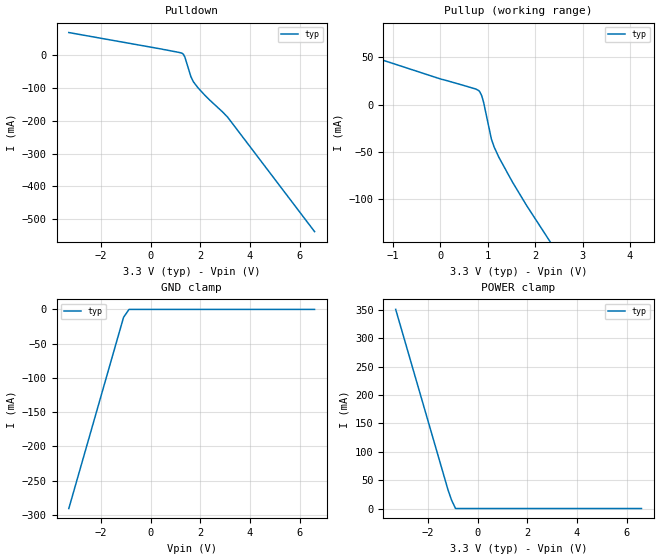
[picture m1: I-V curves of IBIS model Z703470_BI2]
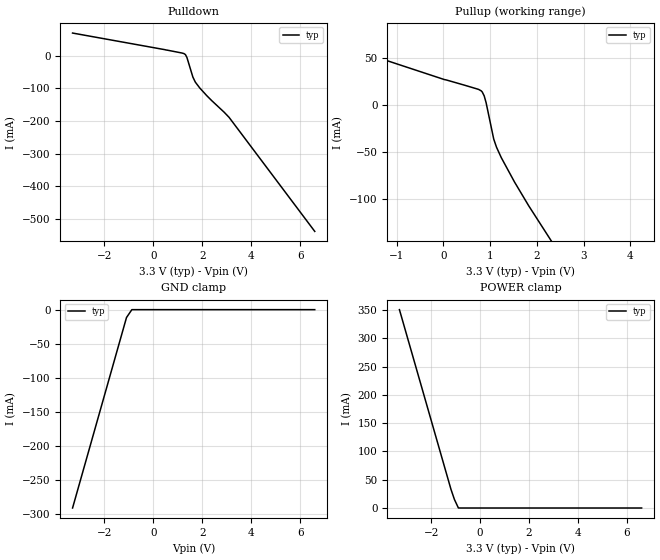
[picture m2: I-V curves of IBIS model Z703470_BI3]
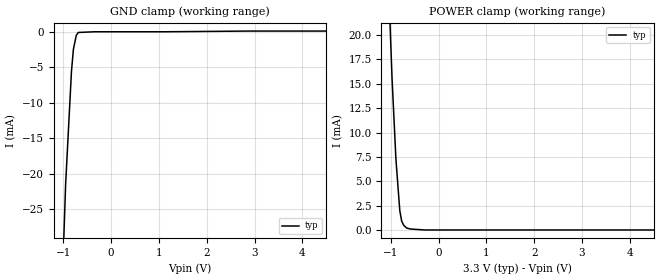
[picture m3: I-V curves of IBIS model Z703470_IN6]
[IBIS Ver] 3.1
[File Name] mc100ep40dt_33v.ibs
[File Rev] 1.0
[Source] derived from MC100EP140D_33V
|   Measured and created by ICX Technology
[Date] 6/30/2004
[Copyright]
| (C) COPYRIGHT 1993-2001
| MENTOR GRAPHICS CORPORATION
| ICX STANDARD LIBRARY, ICX PROJECT MODELING,
| ICX CUSTOM MODELING, ICX VENDOR MODEL
| ALL RIGHTS RESERVED.
| THE FOLLOWING ARE TRADEMARKS OR SERVICE MARKS OF
| MENTOR GRAPHICS CORPORATION:ICX (R), ICX STANDARD
| LIBRARY(R), ICX PROJECT MODELING(R), ICX CUSTOM
| MODELING(R), qualityIBIS(TM), MODELVIEWER(TM),
| AND MODELEDITOR(TM)
| ALL COPIES OF SOFTWARE, INCLUDING BUT NOT LIMITED TO
| ANY MODIFICATIONS, ENHANCEMENTS OR DERIVATIVE WORKS,
| MUST CONTAIN ALL MENTOR GRAPHICS CORPORATION'S
| NOTICES AND LEGENDS, INCLUDING THOSE EMBEDDED IN
| SOFTWARE AND THOSE AFFIXED TO SOFTWARE MEDIUM
| AND CONTAINER, AS RECEIVED FROM MENTOR GRAPHICS
| CORPORATION.
|  ZAP Model Builder 3.0 2/7/2001
[Component] MC100EP40DT_33V
[Manufacturer] OnSemico
[Package]
| variable   typ   min   max
R_pkg  .044ohms NA NA
L_pkg  1.82nH NA NA
C_pkg  .083pF NA NA
[Pin] signal_name  model_name  R_pin  L_pin C_pin
1 VEE GND
2 VTFB NC
3 _VTFB NC
4 FB Z703470_IN6
5 _FB Z703470_IN6
6 R Z703470_IN6
7 _R Z703470_IN6
8 VTR NC
9 _VTR NC
10 VBB POWER
11 VEE GND
12 NC NC
13 VCC POWER
14 _U Z703470_BI3
15 U Z703470_BI2
16 _D Z703470_BI3
17 D Z703470_BI2
18 VCC POWER
19 PLD NC
20 VCC POWER
[Diff Pin] inv_pin vdiff tdelay_typ tdelay_min tdelay_max
4 5 150mv NA NA NA
6 7 150mv NA NA NA
15 14 NA 550p 410p 750p
17 16 NA 550p 140p 750p
[Series Pin Mapping]   pin_2   model_name
2 4 series_r_50
3 5 series_r_50
8 6 series_r_50
9 7 series_r_50
|  ((NBSG53AMN_33_800))
[Model] series_r_50
Model_type Series
C_comp  0  NA  NA
[Voltage range] 0  NA  NA
|   typ  min  max
[R series] 50   45   55
| Models and submodels in the file (4): series_r_50 (Series), Z703470_BI2 (I/O_ECL), Z703470_BI3 (I/O_ECL), Z703470_IN6 (Input_ECL)
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| (C) COPYRIGHT 1993-2001
| MENTOR GRAPHICS CORPORATION
| ICX STANDARD LIBRARY, ICX PROJECT MODELING,
| ICX CUSTOM MODELING, ICX VENDOR MODEL
| ALL RIGHTS RESERVED.
| THE FOLLOWING ARE TRADEMARKS OR SERVICE MARKS OF
| MENTOR GRAPHICS CORPORATION:ICX (R), ICX STANDARD
| LIBRARY(R), ICX PROJECT MODELING(R), ICX CUSTOM
| MODELING(R), qualityIBIS(TM), MODELVIEWER(TM),
| AND MODELEDITOR(TM)
| ALL COPIES OF SOFTWARE, INCLUDING BUT NOT LIMITED TO
| ANY MODIFICATIONS, ENHANCEMENTS OR DERIVATIVE WORKS,
| MUST CONTAIN ALL MENTOR GRAPHICS CORPORATION'S
| NOTICES AND LEGENDS, INCLUDING THOSE EMBEDDED IN
| SOFTWARE AND THOSE AFFIXED TO SOFTWARE MEDIUM
| AND CONTAINER, AS RECEIVED FROM MENTOR GRAPHICS
| CORPORATION.
| Model Application Version 1.89 2/18/99.
[Model] Z703470_BI2
Model_type I/O_ECL
Vinl=1.675V
Vinh=2.075V
Vref=1.300V
Rref=50.00ohms
Cref=0.000F
Vmeas=2.080V
C_comp 2.000pF NA NA
| variable typ   min   max
[Voltage Range] 3.300V NA NA
[POWER Clamp Reference] 3.300V NA NA
[Pullup Reference] 3.300V NA NA
[Pulldown Reference] 3.300V NA NA
[GND Clamp Reference] 0.000V NA NA
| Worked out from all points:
|   GND clamp passes 1 mA (typ) near -0.89 V on its own axis
|   POWER clamp passes 1 mA (typ) near -0.90 V on its own axis
[GND Clamp]
-3.3V     -290.9mA   NA         NA
-1.095V   -11.54mA   NA         NA
-876mV    0A         NA         NA
6.6V      0A         NA         NA
[Pulldown]
-3.3V     69.49mA    NA         NA
463mV     18.7mA     NA         NA
1.172V    8.3mA      NA         NA
1.314V    3.4mA      NA         NA
1.375V    -5.4mA     NA         NA
1.618V    -65.4mA    NA         NA
1.719V    -81mA      NA         NA
2.185V    -122.3mA   NA         NA
3.097V    -188.7mA   NA         NA
6.6V      -538.1mA   NA         NA
[Pullup]
-3.3V     81.34mA    NA         NA
21mV      26.9mA     NA         NA
751mV     16.5mA     NA         NA
812mV     14.8mA     NA         NA
873mV     9.5mA      NA         NA
913mV     2.4mA      NA         NA
1.076V    -36.3mA    NA         NA
1.136V    -45mA      NA         NA
1.237V    -56mA      NA         NA
1.521V    -82mA      NA         NA
1.825V    -107.3mA   NA         NA
6.6V      -476.3mA   NA         NA
[POWER Clamp]
-3.3V     350.8mA    NA         NA
-1.194V   33.08mA    NA         NA
-1.053V   15.19mA    NA         NA
-891mV    149.2uA    NA         NA
-822.5mV  0A         NA         NA
6.6V      0A         NA         NA
[Ramp]
| variable typ min max
dV/dt_r 121.1m/282.0p NA NA
dV/dt_f 121.1m/119.6p NA NA
R_load = 50.00Ohms
| (C) COPYRIGHT 1993-2001
| MENTOR GRAPHICS CORPORATION
| ICX STANDARD LIBRARY, ICX PROJECT MODELING,
| ICX CUSTOM MODELING, ICX VENDOR MODEL
| ALL RIGHTS RESERVED.
| THE FOLLOWING ARE TRADEMARKS OR SERVICE MARKS OF
| MENTOR GRAPHICS CORPORATION:ICX (R), ICX STANDARD
| LIBRARY(R), ICX PROJECT MODELING(R), ICX CUSTOM
| MODELING(R), qualityIBIS(TM), MODELVIEWER(TM),
| AND MODELEDITOR(TM)
| ALL COPIES OF SOFTWARE, INCLUDING BUT NOT LIMITED TO
| ANY MODIFICATIONS, ENHANCEMENTS OR DERIVATIVE WORKS,
| MUST CONTAIN ALL MENTOR GRAPHICS CORPORATION'S
| NOTICES AND LEGENDS, INCLUDING THOSE EMBEDDED IN
| SOFTWARE AND THOSE AFFIXED TO SOFTWARE MEDIUM
| AND CONTAINER, AS RECEIVED FROM MENTOR GRAPHICS
| CORPORATION.
| Model Application Version 1.89 2/18/99.
[Model] Z703470_BI3
Model_type I/O_ECL
Vinl=1.675V
Vinh=2.075V
Vref=1.300V
Rref=50.00ohms
Cref=0.000F
Vmeas=2.080V
C_comp 2.000pF NA NA
| variable typ   min   max
[Voltage Range] 3.300V NA NA
[POWER Clamp Reference] 3.300V NA NA
[Pullup Reference] 3.300V NA NA
[Pulldown Reference] 3.300V NA NA
[GND Clamp Reference] 0.000V NA NA
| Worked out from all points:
|   GND clamp passes 1 mA (typ) near -0.89 V on its own axis
|   POWER clamp passes 1 mA (typ) near -0.90 V on its own axis
[GND Clamp]
-3.3V     -290.9mA   NA         NA
-1.095V   -11.54mA   NA         NA
-876mV    0A         NA         NA
6.6V      0A         NA         NA
[Pulldown]
-3.3V     69.49mA    NA         NA
463mV     18.7mA     NA         NA
1.172V    8.3mA      NA         NA
1.314V    3.4mA      NA         NA
1.375V    -5.4mA     NA         NA
1.618V    -65.4mA    NA         NA
1.719V    -81mA      NA         NA
2.185V    -122.3mA   NA         NA
3.097V    -188.7mA   NA         NA
6.6V      -538.1mA   NA         NA
[Pullup]
-3.3V     81.34mA    NA         NA
21mV      26.9mA     NA         NA
751mV     16.5mA     NA         NA
812mV     14.8mA     NA         NA
873mV     9.5mA      NA         NA
913mV     2.4mA      NA         NA
1.076V    -36.3mA    NA         NA
1.136V    -45mA      NA         NA
1.237V    -56mA      NA         NA
1.521V    -82mA      NA         NA
1.825V    -107.3mA   NA         NA
6.6V      -476.3mA   NA         NA
[POWER Clamp]
-3.3V     350.8mA    NA         NA
-1.194V   33.08mA    NA         NA
-1.053V   15.19mA    NA         NA
-891mV    149.2uA    NA         NA
-822.5mV  0A         NA         NA
6.6V      0A         NA         NA
[Ramp]
| variable typ min max
dV/dt_r 121.1m/115.3p NA NA
dV/dt_f 121.1m/115.3p NA NA
R_load = 50.00Ohms
| (C) COPYRIGHT 1993-2001
| MENTOR GRAPHICS CORPORATION
| ICX STANDARD LIBRARY, ICX PROJECT MODELING,
| ICX CUSTOM MODELING, ICX VENDOR MODEL
| ALL RIGHTS RESERVED.
| THE FOLLOWING ARE TRADEMARKS OR SERVICE MARKS OF
| MENTOR GRAPHICS CORPORATION:ICX (R), ICX STANDARD
| LIBRARY(R), ICX PROJECT MODELING(R), ICX CUSTOM
| MODELING(R), qualityIBIS(TM), MODELVIEWER(TM),
| AND MODELEDITOR(TM)
| ALL COPIES OF SOFTWARE, INCLUDING BUT NOT LIMITED TO
| ANY MODIFICATIONS, ENHANCEMENTS OR DERIVATIVE WORKS,
| MUST CONTAIN ALL MENTOR GRAPHICS CORPORATION'S
| NOTICES AND LEGENDS, INCLUDING THOSE EMBEDDED IN
| SOFTWARE AND THOSE AFFIXED TO SOFTWARE MEDIUM
| AND CONTAINER, AS RECEIVED FROM MENTOR GRAPHICS
| CORPORATION.
| Model Application Version 1.89 2/18/99.
[Model] Z703470_IN6
Model_type Input_ECL
Vinl = 1.675V
Vinh = 2.075V
C_comp 2.000pF NA NA
| variable typ   min   max
[Voltage Range] 3.300V NA NA
[GND Clamp Reference] 0.000V NA NA
[POWER Clamp Reference] 3.300V NA NA
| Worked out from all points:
|   GND clamp passes 1 mA (typ) near -0.75 V on its own axis
|   POWER clamp passes 1 mA (typ) near -0.78 V on its own axis
[GND Clamp]
-3.3V     -591mA     NA         NA
-1.095V   -49.8mA    NA         NA
-953mV    -21.5mA    NA         NA
-831mV    -5.6mA     NA         NA
-791mV    -2.5mA     NA         NA
-730mV    -500uA     NA         NA
-689mV    -100uA     NA         NA
-344.5mV  0A         NA         NA
1.125V    0A         NA         NA
2.898V    100uA      NA         NA
6.6V      100uA      NA         NA
[POWER Clamp]
-3.3V     410mA      NA         NA
-1.443V   86mA       NA         NA
-1.159V   40.1mA     NA         NA
-977mV    15.7mA     NA         NA
-895mV    7.3mA      NA         NA
-814mV    2mA        NA         NA
-774mV    900uA      NA         NA
-733mV    500uA      NA         NA
-673mV    200uA      NA         NA
-592mV    100uA      NA         NA
-296mV    0A         NA         NA
6.6V      0A         NA         NA
